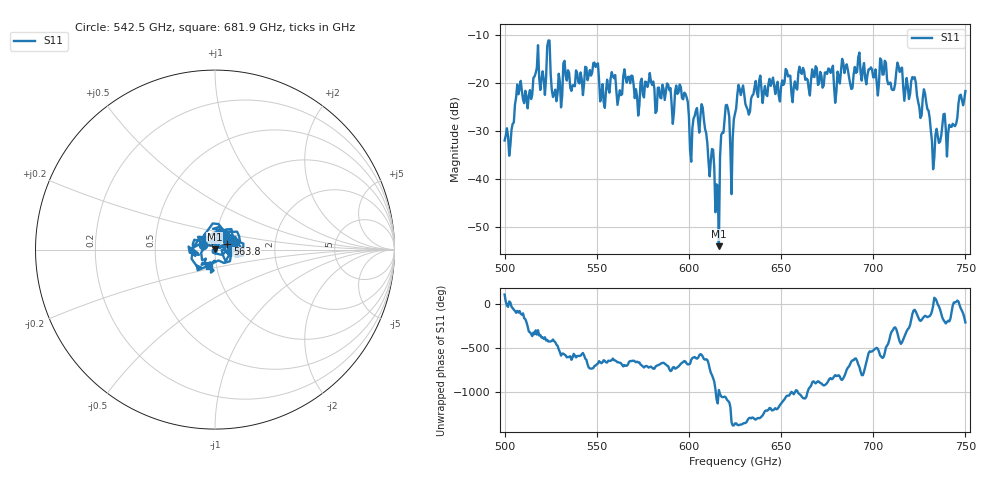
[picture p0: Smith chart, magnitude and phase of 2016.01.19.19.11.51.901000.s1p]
!Created with skrf (http://scikit-rf.org).
# GHz S RI R 50.0
!freq ReS11 ImS11
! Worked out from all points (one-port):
!   401 points, 500 GHz to 750 GHz, reference 50 ohm
!   lowest |S11| = -54.0 dB at 616.2 GHz (marker M1), VSWR 1.00, Z = 50 + j0.197 ohm
!   |S11| at or under -10 dB: start of sweep to end of sweep
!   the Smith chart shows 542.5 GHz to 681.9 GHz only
!   S11 on the Smith chart (normalised r, x): 542.5 GHz: 0.87, +0.05; 563.8 GHz: 1.15, +0.07; 681.9 GHz: 0.92, -0.17
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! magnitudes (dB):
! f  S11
! 500 GHz  -32.0
! 503.8 GHz  -29.8
! 507.5 GHz  -22.4
! 513.8 GHz  -21.6
! 523.8 GHz  -11.2
! 526.9 GHz  -22.4
! 531.2 GHz  -22.7
! 542.5 GHz  -22.6
! 549.4 GHz  -16.7
! 553.1 GHz  -20.3
! 562.5 GHz  -21.6
! 563.8 GHz  -22.4
! 593.8 GHz  -22.3
! 601.2 GHz  -36.4
! 607.5 GHz  -25.2
! 615 GHz  -41.1
! 616.2 GHz  -54.0
! 619.4 GHz  -27.5
! 623.1 GHz  -43.2
! 625 GHz  -26.5
! 628.1 GHz  -22.6
! 656.2 GHz  -24.1
! 681.9 GHz  -20.2
! 687.5 GHz  -20.2
! 718.8 GHz  -20.8
! 728.8 GHz  -24.1
! 732.5 GHz  -38.0
! 750 GHz  -21.7
